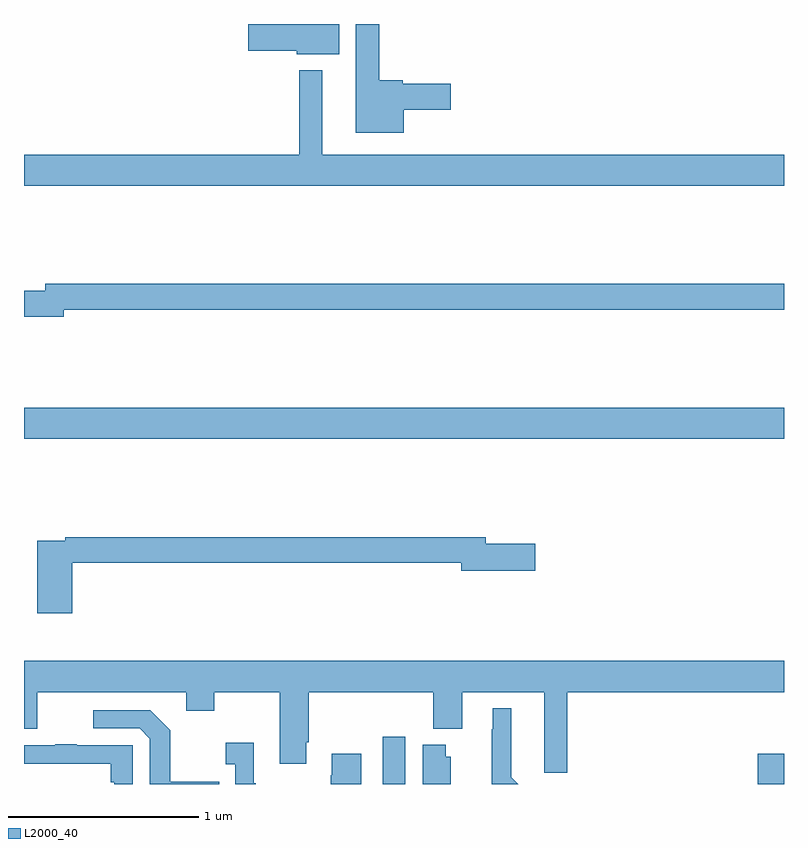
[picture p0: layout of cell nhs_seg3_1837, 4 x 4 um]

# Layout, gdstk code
import gdstk
lib = gdstk.Library(unit=1e-6, precision=1e-09)
def R(c, l, rs):  # rectangles x0, y0, x1, y1
    for r in rs: c.add(gdstk.rectangle(r[:2], r[2:], *l))
def P(c, l, *ps):  # polygons
    for p in ps: c.add(gdstk.Polygon(p, *l))
L2000_40 = (2000, 40)

nhs_seg3_1837 = lib.new_cell('nhs_seg3_1837')
R(nhs_seg3_1837, L2000_40, [(206.888,732.4,207.007,732.649), (208.862,732.4,209,732.559), (205,734.216,209,734.38)])
P(nhs_seg3_1837, L2000_40, [(206.659,736.4),(206.18,736.4),(206.18,736.259),(206.436,736.259),(206.436,736.241),(206.659,736.241)],
  [(206.998,735.95),(207.247,735.95),(207.247,736.085),(206.994,736.085),(206.994,736.103),(206.869,736.103),(206.869,736.4),(206.747,736.4),(206.747,735.827),(206.998,735.827)],
  [(209,735.712),(206.569,735.712),(206.569,736.156),(206.448,736.156),(206.448,735.712),(205,735.712),(205,735.548),(209,735.548)],
  [(205.209,734.896),(209,734.896),(209,735.032),(205.113,735.032),(205.113,734.996),(205,734.996),(205,734.86),(205.209,734.86)],
  [(205.253,733.564),(207.302,733.564),(207.302,733.522),(207.691,733.522),(207.691,733.664),(207.43,733.664),(207.43,733.7),(205.216,733.7),(205.216,733.68),(205.07,733.68),(205.07,733.299),(205.253,733.299)],
  [(205,732.69),(205.069,732.69),(205.069,732.884),(205.853,732.884),(205.853,732.785),(206.001,732.785),(206.001,732.884),(206.345,732.884),(206.345,732.507),(206.485,732.507),(206.485,732.619),(206.498,732.619),(206.498,732.884),(207.155,732.884),(207.155,732.692),(207.307,732.692),(207.307,732.884),(207.737,732.884),(207.737,732.459),(207.86,732.459),(207.86,732.884),(209,732.884),(209,733.048),(205,733.048)],
  [(207.565,732.436),(207.565,732.799),(207.467,732.799),(207.467,732.689),(207.463,732.689),(207.463,732.4),(207.601,732.4)],
  [(206.027,732.411),(205.771,732.411),(205.771,732.683),(205.665,732.789),(205.365,732.789),(205.365,732.693),(205.608,732.693),(205.662,732.639),(205.662,732.4),(206.027,732.4)],
  [(206.221,732.403),(206.209,732.403),(206.209,732.616),(206.061,732.616),(206.061,732.503),(206.112,732.503),(206.112,732.4),(206.221,732.4)],
  [(205.572,732.603),(205.277,732.603),(205.277,732.608),(205.165,732.608),(205.165,732.603),(205,732.603),(205,732.507),(205.456,732.507),(205.456,732.41),(205.476,732.41),(205.476,732.4),(205.572,732.4)],
  [(207.247,732.543),(207.22,732.543),(207.22,732.607),(207.098,732.607),(207.098,732.4),(207.247,732.4)],
  [(206.776,732.559),(206.621,732.559),(206.621,732.446),(206.614,732.446),(206.614,732.4),(206.776,732.4)])

lib.write_gds('nhs_seg3_1837.gds')
